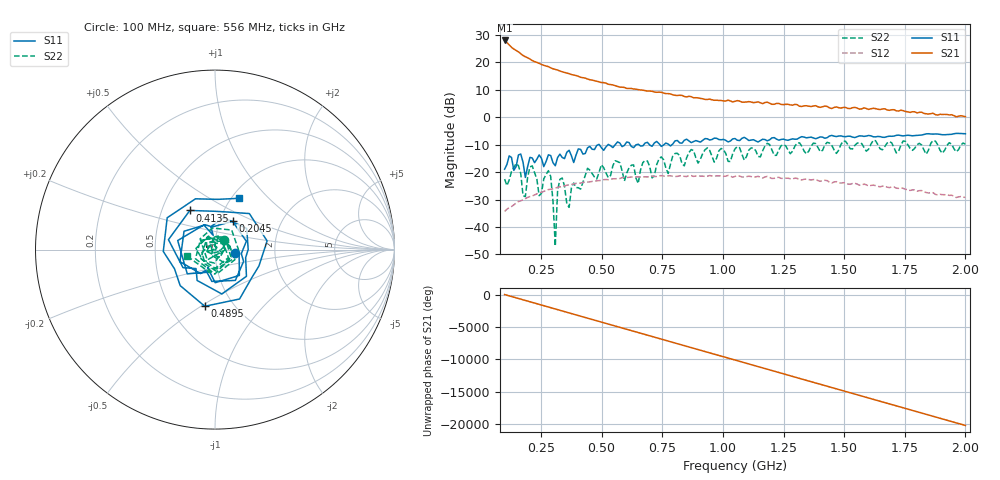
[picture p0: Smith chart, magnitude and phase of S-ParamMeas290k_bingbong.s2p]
!Keysight Technologies,N5242B,MY48420967,A.15.65.19
!Date: Thursday, February 02, 2023 15:29:36
!Correction: S11(C  1-Port  )
!S21(Off)
!S12(Off)
!S22(Off)
!S2P File: Measurements: S11, S21, S12, S22:
# Hz S  dB  R 50
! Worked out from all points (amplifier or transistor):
!   201 points, 100 MHz to 2 GHz, reference 50 ohm
!   highest |S21| = 28.0 dB at 100 MHz (marker M1)
!   |S21| within 3 dB of that: start of sweep to 136 MHz
!   unconditionally stable (mu >= 1): start of sweep to end of sweep
!   at 413.5 MHz: K = 1.54, MAG = 15.0 dB, |S12| = -24.0 dB
!   at 1.05 GHz: K = 2.53, MAG = 6.8 dB, |S12| = -21.6 dB
!   at 2 GHz: K = 9.39, MAG = 2.0 dB, |S12| = -29.3 dB
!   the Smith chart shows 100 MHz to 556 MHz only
!   S11 on the Smith chart (normalised r, x): 100 MHz: 1.25, -0.05; 204.5 MHz: 1.15, +0.38; 413.5 MHz: 0.69, +0.32; 489.5 MHz: 0.74, -0.52; 556 MHz: 1.08, +0.69
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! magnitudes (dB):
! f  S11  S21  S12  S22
! 100 MHz  -19.0  28.0  -34.3  -22.5
! 147.5 MHz  -18.0  24.4  -31.3  -16.9
! 166.5 MHz  -13.4  23.2  -30.4  -20.6
! 185.5 MHz  -21.9  22.1  -29.7  -29.0
! 204.5 MHz  -14.6  21.3  -28.9  -18.1
! 242.5 MHz  -13.7  19.7  -27.6  -28.6
! 290 MHz  -14.0  18.1  -26.3  -21.6
! 309 MHz  -17.7  17.5  -25.8  -47.0
! 318.5 MHz  -14.7  17.2  -25.6  -26.7
! 328 MHz  -13.5  16.9  -25.4  -22.6
! 366 MHz  -12.0  15.9  -24.6  -32.9
! 385 MHz  -16.5  15.4  -24.3  -24.0
! 413.5 MHz  -11.7  14.6  -24.0  -26.2
! 423 MHz  -13.4  14.5  -23.8  -23.7
! 489.5 MHz  -9.9  12.9  -23.1  -20.1
! 556 MHz  -10.0  11.5  -22.4  -15.9
! 651 MHz  -9.8  10.1  -21.8  -24.1
! 736.5 MHz  -9.6  9.2  -21.4  -15.2
! 1.05 GHz  -7.8  5.8  -21.6  -11.5
! 1.373 GHz  -7.5  4.1  -22.7  -9.4
! 1.687 GHz  -6.9  2.5  -25.7  -8.9
! 2 GHz  -6.0  0.3  -29.3  -9.8
